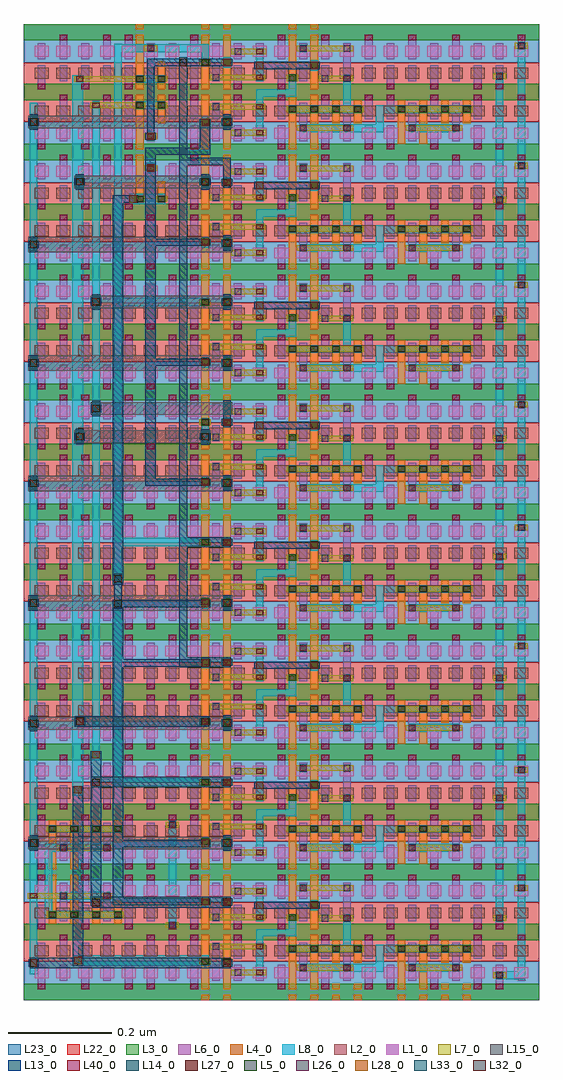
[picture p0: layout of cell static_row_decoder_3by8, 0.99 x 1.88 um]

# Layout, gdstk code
from math import pi, radians
import gdstk
lib = gdstk.Library(unit=1e-6, precision=2.5e-10)
def R(c, l, rs):  # rectangles x0, y0, x1, y1
    for r in rs: c.add(gdstk.rectangle(r[:2], r[2:], *l))
def A(c, l, x, y, w, h, nx, ny, dx, dy):  # array of equal rectangles
    R(c, l, [(x+i*dx, y+j*dy, x+i*dx+w, y+j*dy+h) for i in range(nx) for j in range(ny)])
def P(c, l, *ps):  # polygons
    for p in ps: c.add(gdstk.Polygon(p, *l))
L1_0 = (1, 0)
L2_0 = (2, 0)
L3_0 = (3, 0)
L4_0 = (4, 0)
L5_0 = (5, 0)
L6_0 = (6, 0)
L7_0 = (7, 0)
L8_0 = (8, 0)
L13_0 = (13, 0)
L14_0 = (14, 0)
L15_0 = (15, 0)
L22_0 = (22, 0)
L23_0 = (23, 0)
L26_0 = (26, 0)
L27_0 = (27, 0)
L28_0 = (28, 0)
L32_0 = (32, 0)
L33_0 = (33, 0)
L40_0 = (40, 0)

nor = lib.new_cell('nor')
A(nor, L1_0, 0.178, 0.0425, 0.027, 0.021, 4, 1, 0.042, 0)
A(nor, L2_0, 0.178, 0.085, 0.027, 0.021, 4, 1, 0.042, 0)
R(nor, L3_0, [(0.157,0.0005,0.352,0.032), (0.157,0.116,0.352,0.1475)])
R(nor, L4_0, [(0.205,0.0005,0.22,0.011), (0.247,0.0005,0.262,0.011), (0.205,0.0215,0.22,0.1265), (0.247,0.0215,0.262,0.1265), (0.205,0.137,0.22,0.1475), (0.247,0.137,0.262,0.1475)])
R(nor, L5_0, [(0.247,0.073,0.262,0.086), (0.205,0.0975,0.22,0.1105)])
R(nor, L6_0, [(0.184,0.0215,0.199,0.0685), (0.268,0.0215,0.283,0.0685), (0.226,0.0375,0.241,0.0685), (0.31,0.0375,0.325,0.111), (0.184,0.08,0.199,0.1265), (0.226,0.08,0.241,0.111), (0.268,0.08,0.283,0.111)])
R(nor, L7_0, [(0.221,0.042,0.33,0.053), (0.2435,0.074,0.2655,0.085), (0.2015,0.0985,0.2235,0.1105), (0.263,0.1,0.33,0.111)])
R(nor, L8_0, [(0.2265,0.04,0.2405,0.055), (0.2475,0.072,0.2615,0.087), (0.2055,0.098,0.2195,0.113)])
R(nor, L22_0, [(0.157,0.075,0.352,0.1325)])
R(nor, L23_0, [(0.157,0.0005,0.352,0.075)])
R(nor, L26_0, [(0.227,0.041,0.24,0.054), (0.311,0.041,0.324,0.054), (0.269,0.099,0.282,0.112), (0.311,0.099,0.324,0.112)])
R(nor, L27_0, [(0.2265,0.0425,0.2405,0.0525), (0.2475,0.0745,0.2615,0.0845), (0.2055,0.1005,0.2195,0.1105)])
R(nor, L40_0, [(0.184,0.0215,0.199,0.032), (0.268,0.0215,0.283,0.032), (0.184,0.116,0.199,0.1265)])

nand = lib.new_cell('nand')
A(nand, L1_0, 0.1255, 0.099, 0.027, 0.021, 4, 1, 0.042, 0)
A(nand, L2_0, 0.1255, 0.1415, 0.027, 0.021, 4, 1, 0.042, 0)
R(nand, L3_0, [(0.1045,0.057,0.2995,0.0885), (0.1045,0.1725,0.2995,0.204)])
R(nand, L4_0, [(0.1525,0.057,0.1675,0.0675), (0.1945,0.057,0.2095,0.0675), (0.1525,0.078,0.1675,0.183), (0.1945,0.078,0.2095,0.183), (0.1525,0.1935,0.1675,0.204), (0.1945,0.1935,0.2095,0.204)])
R(nand, L5_0, [(0.1525,0.1245,0.1675,0.1375), (0.1945,0.1245,0.2095,0.1375)])
A(nand, L6_0, 0.1735, 0.094, 0.015, 0.031, 3, 1, 0.042, 0)
R(nand, L6_0, [(0.1315,0.078,0.1465,0.125), (0.1315,0.1365,0.1465,0.183), (0.1735,0.1365,0.1885,0.1675), (0.2155,0.1365,0.2305,0.183), (0.2575,0.1365,0.2725,0.1675)])
R(nand, L7_0, [(0.2105,0.1045,0.2775,0.1155), (0.149,0.1255,0.171,0.1365), (0.191,0.1255,0.213,0.1365), (0.1685,0.1545,0.276,0.1655)])
R(nand, L8_0, [(0.258,0.1025,0.272,0.1675), (0.153,0.1235,0.167,0.1385), (0.195,0.1235,0.209,0.1385)])
R(nand, L22_0, [(0.1045,0.1315,0.2995,0.204)])
R(nand, L23_0, [(0.1045,0.057,0.2995,0.1315)])
R(nand, L26_0, [(0.2165,0.1035,0.2295,0.1165), (0.1745,0.1535,0.1875,0.1665)])
R(nand, L27_0, [(0.258,0.105,0.272,0.115), (0.153,0.126,0.167,0.136), (0.195,0.126,0.209,0.136), (0.258,0.155,0.272,0.165)])
R(nand, L40_0, [(0.1315,0.078,0.1465,0.0885), (0.1315,0.1725,0.1465,0.183), (0.2155,0.1725,0.2305,0.183)])

inv = lib.new_cell('inv')
A(inv, L1_0, 0.021, 0.042, 0.027, 0.021, 3, 1, 0.042, 0)
A(inv, L2_0, 0.021, 0.0845, 0.027, 0.021, 3, 1, 0.042, 0)
R(inv, L3_0, [(0,0,0.153,0.0315), (0,0.1155,0.153,0.147)])
R(inv, L4_0, [(0.048,0,0.063,0.0105), (0.048,0.021,0.063,0.1155), (0.09,0.0715,0.105,0.1155)])
R(inv, L5_0, [(0.048,0.0995,0.063,0.1125), (0.09,0.0995,0.105,0.1125)])
R(inv, L6_0, [(0.027,0.021,0.042,0.068), (0.069,0.037,0.084,0.1105), (0.111,0.037,0.126,0.068), (0.027,0.0795,0.042,0.126), (0.111,0.0795,0.126,0.126)])
R(inv, L7_0, [(0.064,0.041,0.089,0.052), (0.0445,0.1005,0.0665,0.1115), (0.0865,0.1005,0.1085,0.1115)])
R(inv, L8_0, [(0.0695,0.039,0.0835,0.054), (0.0485,0.0985,0.1045,0.1135)])
R(inv, L22_0, [(0,0.0745,0.153,0.147)])
R(inv, L23_0, [(0,0,0.153,0.0745)])
R(inv, L26_0, [(0.07,0.04,0.083,0.053)])
R(inv, L27_0, [(0.0695,0.0415,0.0835,0.0515), (0.0485,0.101,0.0625,0.111), (0.0905,0.101,0.1045,0.111)])
R(inv, L40_0, [(0.027,0.021,0.042,0.0315), (0.027,0.1155,0.042,0.126), (0.111,0.1155,0.126,0.126)])

sram_filler = lib.new_cell('sram_filler')
R(sram_filler, L1_0, [(0.022,0.042,0.049,0.063), (0.064,0.042,0.091,0.063)])
R(sram_filler, L2_0, [(0.022,0.0845,0.049,0.1055), (0.064,0.0845,0.091,0.1055)])
R(sram_filler, L3_0, [(0.001,0,0.112,0.0315), (0.001,0.1155,0.112,0.147)])
R(sram_filler, L6_0, [(0.028,0.021,0.043,0.068), (0.07,0.037,0.085,0.068), (0.028,0.0795,0.043,0.1105), (0.07,0.0795,0.085,0.126)])
R(sram_filler, L22_0, [(0.001,0.0745,0.112,0.147)])
R(sram_filler, L23_0, [(0.001,0,0.112,0.0745)])
R(sram_filler, L40_0, [(0.028,0.021,0.043,0.0315), (0.07,0.1155,0.085,0.126)])

invx4 = lib.new_cell('invx4')
A(invx4, L1_0, 0.027, 0.042, 0.027, 0.021, 5, 1, 0.042, 0)
A(invx4, L2_0, 0.027, 0.0845, 0.027, 0.021, 5, 1, 0.042, 0)
R(invx4, L3_0, [(0.006,0,0.243,0.0315), (0.006,0.1155,0.243,0.147)])
R(invx4, L4_0, [(0.054,0.0315,0.069,0.1155), (0.096,0.0315,0.111,0.1155), (0.138,0.0715,0.153,0.1155), (0.18,0.0715,0.195,0.1155)])
A(invx4, L5_0, 0.054, 0.092, 0.015, 0.013, 4, 1, 0.042, 0)
A(invx4, L6_0, 0.033, 0.021, 0.015, 0.047, 3, 1, 0.084, 0)
A(invx4, L6_0, 0.033, 0.0795, 0.015, 0.0465, 3, 1, 0.084, 0)
R(invx4, L6_0, [(0.075,0.037,0.09,0.1105), (0.159,0.037,0.174,0.1105)])
R(invx4, L7_0, [(0.07,0.0565,0.179,0.0675), (0.0505,0.093,0.1985,0.104)])
R(invx4, L8_0, [(0.0755,0.0545,0.1735,0.0695), (0.0545,0.091,0.1945,0.106)])
R(invx4, L22_0, [(0.006,0.0745,0.243,0.147)])
R(invx4, L23_0, [(0.006,0,0.243,0.0745)])
R(invx4, L26_0, [(0.076,0.0555,0.089,0.0685), (0.16,0.0555,0.173,0.0685)])
A(invx4, L27_0, 0.0545, 0.0935, 0.014, 0.01, 4, 1, 0.042, 0)
R(invx4, L27_0, [(0.0755,0.057,0.0895,0.067), (0.1595,0.057,0.1735,0.067)])
A(invx4, L40_0, 0.033, 0.021, 0.015, 0.0105, 3, 2, 0.084, 0.0945)

buffer_highdrive = lib.new_cell('buffer_highdrive')
R(buffer_highdrive, L3_0, [(0.2825,0.012,0.293,0.018), (0.159,0.138,0.1675,0.143)])
R(buffer_highdrive, L4_0, [(0.0485,-0.0005,0.0635,0.01), (0.0905,-0.0005,0.1055,0.01), (0.0485,0.0205,0.0635,0.031), (0.0905,0.0205,0.1055,0.031), (0.0485,0.115,0.0635,0.1255), (0.0905,0.115,0.1055,0.1255), (0.0485,0.136,0.0635,0.1465), (0.0905,0.136,0.1055,0.1465)])
R(buffer_highdrive, L8_0, [(0.3675,0.0575,0.3745,0.064), (0.2835,0.096,0.29,0.101)])
P(buffer_highdrive, L8_0, [(0.259,0.1055),(0.259,0.0905),(0.2315,0.0905),(0.2315,0.054),(0.168,0.054),(0.168,0.069),(0.2165,0.069),(0.2165,0.1055)])
buffer_highdrive.add(gdstk.Reference(invx4, (-0.0055,-0.0005)))
buffer_highdrive.add(gdstk.Reference(invx4, (0.2045,-0.0005)))

static_row_decoder_3by8 = lib.new_cell('static_row_decoder_3by8')
A(static_row_decoder_3by8, L1_0, 0.478, -1.4275, 0.027, 0.021, 3, 2, 0.042, 0.1575)
A(static_row_decoder_3by8, L1_0, 0.646, -1.4275, 0.027, 0.021, 3, 2, 0.042, 0.1575)
A(static_row_decoder_3by8, L1_0, 0.856, -1.4275, 0.027, 0.021, 3, 8, 0.042, 0.231)
A(static_row_decoder_3by8, L1_0, 0.184, -1.27, 0.027, 0.021, 3, 2, 0.042, 0.0735)
A(static_row_decoder_3by8, L1_0, 0.478, -1.1965, 0.027, 0.021, 3, 2, 0.042, 0.1575)
A(static_row_decoder_3by8, L1_0, 0.646, -1.1965, 0.027, 0.021, 3, 2, 0.042, 0.1575)
A(static_row_decoder_3by8, L1_0, 0.478, -0.9655, 0.027, 0.021, 3, 2, 0.042, 0.1575)
A(static_row_decoder_3by8, L1_0, 0.646, -0.9655, 0.027, 0.021, 3, 2, 0.042, 0.1575)
A(static_row_decoder_3by8, L1_0, 0.478, -0.7345, 0.027, 0.021, 3, 2, 0.042, 0.1575)
A(static_row_decoder_3by8, L1_0, 0.646, -0.7345, 0.027, 0.021, 3, 2, 0.042, 0.1575)
A(static_row_decoder_3by8, L1_0, 0.478, -0.5035, 0.027, 0.021, 3, 2, 0.042, 0.1575)
A(static_row_decoder_3by8, L1_0, 0.646, -0.5035, 0.027, 0.021, 3, 2, 0.042, 0.1575)
A(static_row_decoder_3by8, L1_0, 0.478, -0.2725, 0.027, 0.021, 3, 2, 0.042, 0.1575)
A(static_row_decoder_3by8, L1_0, 0.646, -0.2725, 0.027, 0.021, 3, 2, 0.042, 0.1575)
A(static_row_decoder_3by8, L1_0, 0.478, -0.0415, 0.027, 0.021, 3, 2, 0.042, 0.1575)
A(static_row_decoder_3by8, L1_0, 0.646, -0.0415, 0.027, 0.021, 3, 2, 0.042, 0.1575)
A(static_row_decoder_3by8, L1_0, 0.478, 0.1895, 0.027, 0.021, 3, 2, 0.042, 0.1575)
A(static_row_decoder_3by8, L1_0, 0.646, 0.1895, 0.027, 0.021, 3, 2, 0.042, 0.1575)
R(static_row_decoder_3by8, L1_0, [(0.352,0.116,0.379,0.137), (0.394,0.116,0.421,0.137), (0.352,0.1895,0.379,0.2105), (0.394,0.1895,0.421,0.2105), (0.352,0.347,0.379,0.368), (0.394,0.347,0.421,0.368)])
A(static_row_decoder_3by8, L2_0, 0.478, -1.385, 0.027, 0.021, 3, 2, 0.042, 0.0725)
A(static_row_decoder_3by8, L2_0, 0.646, -1.385, 0.027, 0.021, 10, 8, 0.042, 0.231)
A(static_row_decoder_3by8, L2_0, 0.184, -1.3125, 0.027, 0.021, 5, 2, 0.042, 0.1585)
A(static_row_decoder_3by8, L2_0, 0.646, -1.3125, 0.027, 0.021, 3, 8, 0.042, 0.231)
A(static_row_decoder_3by8, L2_0, 0.478, -1.154, 0.027, 0.021, 3, 2, 0.042, 0.0725)
A(static_row_decoder_3by8, L2_0, 0.478, -0.923, 0.027, 0.021, 3, 2, 0.042, 0.0725)
A(static_row_decoder_3by8, L2_0, 0.478, -0.692, 0.027, 0.021, 3, 2, 0.042, 0.0725)
A(static_row_decoder_3by8, L2_0, 0.478, -0.461, 0.027, 0.021, 3, 2, 0.042, 0.0725)
A(static_row_decoder_3by8, L2_0, 0.478, -0.23, 0.027, 0.021, 3, 2, 0.042, 0.0725)
A(static_row_decoder_3by8, L2_0, 0.478, 0.001, 0.027, 0.021, 3, 1, 0.042, 0)
A(static_row_decoder_3by8, L2_0, 0.352, 0.0735, 0.027, 0.021, 6, 2, 0.042, 0.1585)
A(static_row_decoder_3by8, L2_0, 0.352, 0.3045, 0.027, 0.021, 6, 1, 0.042, 0)
R(static_row_decoder_3by8, L3_0, [(0.2415,-1.226,0.252,-1.22), (0.3215,-1.1,0.33,-1.095)])
A(static_row_decoder_3by8, L4_0, 0.673, -1.4695, 0.015, 0.0105, 4, 1, 0.042, 0)
A(static_row_decoder_3by8, L4_0, 0.883, -1.4695, 0.015, 0.0105, 4, 1, 0.042, 0)
A(static_row_decoder_3by8, L4_0, 0.505, -1.4485, 0.015, 0.105, 1, 16, 0, 0.1155)
A(static_row_decoder_3by8, L4_0, 0.547, -1.4485, 0.015, 0.105, 1, 16, 0, 0.1155)
A(static_row_decoder_3by8, L4_0, 0.673, -1.4485, 0.015, 0.105, 1, 16, 0, 0.1155)
A(static_row_decoder_3by8, L4_0, 0.715, -1.4485, 0.015, 0.105, 1, 16, 0, 0.1155)
A(static_row_decoder_3by8, L4_0, 0.757, -1.398, 0.015, 0.044, 1, 8, 0, 0.231)
A(static_row_decoder_3by8, L4_0, 0.799, -1.398, 0.015, 0.044, 1, 8, 0, 0.231)
A(static_row_decoder_3by8, L4_0, 0.967, -1.398, 0.015, 0.044, 1, 8, 0, 0.231)
A(static_row_decoder_3by8, L4_0, 1.009, -1.398, 0.015, 0.044, 1, 8, 0, 0.231)
A(static_row_decoder_3by8, L4_0, 0.883, -1.207, 0.015, 0.084, 1, 7, 0, 0.231)
A(static_row_decoder_3by8, L4_0, 0.925, -1.207, 0.015, 0.084, 1, 7, 0, 0.231)
R(static_row_decoder_3by8, L4_0, [(0.505,-1.4695,0.52,-1.459), (0.547,-1.4695,0.562,-1.459), (0.757,-1.4485,0.772,-1.438), (0.799,-1.4485,0.814,-1.438), (0.883,-1.4485,0.898,-1.354), (0.925,-1.4485,0.94,-1.354), (0.967,-1.4485,0.982,-1.438), (1.009,-1.4485,1.024,-1.438), (0.211,-1.3225,0.226,-1.228), (0.253,-1.3225,0.268,-1.228), (0.295,-1.3225,0.31,-1.2785), (0.337,-1.3225,0.352,-1.2785), (0.211,-1.2175,0.226,-1.123), (0.253,-1.2175,0.268,-1.123), (0.295,-1.167,0.31,-1.123), (0.337,-1.167,0.352,-1.123), (0.379,0.0635,0.394,0.158), (0.421,0.0635,0.436,0.1075), (0.379,0.1685,0.394,0.2735), (0.421,0.219,0.436,0.2735), (0.379,0.284,0.394,0.389), (0.421,0.284,0.436,0.3385), (0.379,0.3995,0.394,0.41), (0.505,0.3995,0.52,0.41), (0.547,0.3995,0.562,0.41), (0.673,0.3995,0.688,0.41), (0.715,0.3995,0.73,0.41)])
A(static_row_decoder_3by8, L6_0, 1.072, -1.317, 0.015, 0.011, 1, 3, 0, 0.231)
R(static_row_decoder_3by8, L6_0, [(1.072,-1.4275,1.087,-1.4165), (0.442,-1.3305,0.457,-1.3195), (1.114,-1.2595,1.129,-1.2485), (0.442,-1.1375,0.457,-1.1265), (1.114,-1.032,1.129,-1.021), (1.114,-0.7935,1.129,-0.7825), (1.072,-0.6215,1.087,-0.6105), (1.114,-0.565,1.129,-0.554), (1.072,-0.3935,1.087,-0.3825), (1.114,-0.3285,1.129,-0.3175), (1.072,-0.1635,1.087,-0.1525), (1.114,-0.098,1.129,-0.087), (1.072,0.066,1.087,0.077), (1.114,0.1315,1.129,0.1425), (1.072,0.304,1.087,0.315), (1.114,0.3625,1.129,0.3735)])
A(static_row_decoder_3by8, L7_0, 0.7745, -1.317, 0.022, 0.01, 1, 8, 0, 0.231)
A(static_row_decoder_3by8, L7_0, 1.067, -1.317, 0.025, 0.011, 1, 3, 0, 0.231)
R(static_row_decoder_3by8, L7_0, [(1.067,-1.4275,1.092,-1.4165), (0.437,-1.3305,0.462,-1.3195), (0.171,-1.2745,0.2315,-1.2635), (1.109,-1.2595,1.134,-1.2485), (0.437,-1.1375,0.462,-1.1265), (1.109,-1.032,1.134,-1.021), (1.109,-0.7935,1.134,-0.7825), (1.067,-0.6215,1.092,-0.6105), (1.109,-0.565,1.134,-0.554), (1.067,-0.3935,1.092,-0.3825), (1.109,-0.3285,1.134,-0.3175), (1.067,-0.1635,1.092,-0.1525), (1.109,-0.098,1.134,-0.087), (1.067,0.066,1.092,0.077), (1.109,0.1315,1.134,0.1425), (0.2915,0.248,0.3975,0.259), (0.26,0.2985,0.3975,0.3095), (1.067,0.304,1.092,0.315), (1.109,0.3625,1.134,0.3735)])
A(static_row_decoder_3by8, L8_0, 0.7785, -1.3785, 0.014, 0.074, 1, 8, 0, 0.231)
A(static_row_decoder_3by8, L8_0, 0.6105, -1.297, 0.014, 0.02, 1, 8, 0, 0.231)
A(static_row_decoder_3by8, L8_0, 0.7155, -1.297, 0.014, 0.02, 1, 8, 0, 0.231)
A(static_row_decoder_3by8, L8_0, 0.5055, -0.4825, 0.014, 0.02, 1, 3, 0, 0.231)
R(static_row_decoder_3by8, L8_0, [(0.5475,-1.408,0.5615,-1.388), (0.26,-1.4035,0.5195,-1.3835), (0.442,-1.3325,0.457,-1.1245), (1.072,-1.319,1.087,0.317), (0.5475,-1.291,0.5615,-1.271), (0.5055,-1.2905,0.5195,-1.2705), (0.2365,-1.2715,0.2435,-1.265), (0.5055,-1.178,0.5195,-1.158), (0.5475,-1.177,0.5615,-1.157), (0.214,-1.1445,0.225,-1.1335), (0.236,-1.142,0.2425,-1.137), (0.257,-1.0765,0.278,0.3115), (0.5475,-1.06,0.5615,-1.04), (0.2955,-1.0075,0.3095,0.261), (0.5475,-0.946,0.5615,-0.926), (0.5055,-0.9435,0.5195,-0.9235), (0.5055,-0.8305,0.5195,-0.8105), (0.5475,-0.829,0.5615,-0.809), (0.5055,-0.716,0.5195,-0.696), (0.5475,-0.715,0.5615,-0.695), (0.5475,-0.598,0.5615,-0.578), (0.5475,-0.484,0.5615,-0.464), (0.5055,-0.395,0.5195,-0.349), (0.5475,-0.367,0.5615,-0.347), (0.5475,-0.253,0.5615,-0.233), (0.5475,-0.1355,0.5615,-0.1155), (0.5475,-0.022,0.5615,-0.002), (0.366,0.063,0.436,0.083), (0.5475,0.095,0.5615,0.115), (0.5055,0.096,0.5195,0.116), (0.4005,0.1225,0.4145,0.1425), (0.4005,0.184,0.4145,0.204), (0.5055,0.2105,0.5195,0.2305), (0.5475,0.2115,0.5615,0.2315), (0.3815,0.248,0.397,0.259), (0.5475,0.326,0.5615,0.346)])
P(static_row_decoder_3by8, L8_0, [(0.688,0.3125),(0.688,0.27),(0.6245,0.27),(0.6245,0.237),(0.6105,0.237),(0.6105,0.284),(0.6735,0.284),(0.6735,0.3125)],
  [(0.688,0.0815),(0.688,0.039),(0.6245,0.039),(0.6245,0.006),(0.6105,0.006),(0.6105,0.053),(0.6735,0.053),(0.6735,0.0815)],
  [(0.688,-0.1495),(0.688,-0.192),(0.6245,-0.192),(0.6245,-0.225),(0.6105,-0.225),(0.6105,-0.178),(0.6735,-0.178),(0.6735,-0.1495)],
  [(0.688,-0.3805),(0.688,-0.423),(0.6245,-0.423),(0.6245,-0.456),(0.6105,-0.456),(0.6105,-0.409),(0.6735,-0.409),(0.6735,-0.3805)],
  [(0.688,-0.6115),(0.688,-0.654),(0.6245,-0.654),(0.6245,-0.687),(0.6105,-0.687),(0.6105,-0.64),(0.6735,-0.64),(0.6735,-0.6115)],
  [(0.688,-0.8425),(0.688,-0.885),(0.6245,-0.885),(0.6245,-0.918),(0.6105,-0.918),(0.6105,-0.871),(0.6735,-0.871),(0.6735,-0.8425)],
  [(0.688,-1.0735),(0.688,-1.116),(0.6245,-1.116),(0.6245,-1.149),(0.6105,-1.149),(0.6105,-1.102),(0.6735,-1.102),(0.6735,-1.0735)],
  [(0.688,-1.3045),(0.688,-1.347),(0.6245,-1.347),(0.6245,-1.38),(0.6105,-1.38),(0.6105,-1.333),(0.6735,-1.333),(0.6735,-1.3045)],
  [(0.247,-1.169),(0.247,-1.184),(0.2185,-1.184),(0.2185,-1.298),(0.2255,-1.298),(0.2255,-1.313),(0.2035,-1.313),(0.2035,-1.169)],
  [(1.129,0.3755),(1.129,-1.4295),(1.0725,-1.4295),(1.0725,-1.4145),(1.1145,-1.4145),(1.1145,0.3755)],
  [(0.352,0.3715),(0.352,0.371),(0.5195,0.371),(0.5195,0.3295),(0.5055,0.3295),(0.5055,0.356),(0.352,0.356),(0.352,-0.1175),(0.52,-0.1175),(0.52,-0.1335),(0.352,-0.1335),(0.352,-0.5795),(0.52,-0.5795),(0.52,-0.5955),(0.352,-0.5955),(0.352,-1.0415),(0.52,-1.0415),(0.52,-1.0575),(0.337,-1.0575),(0.337,0.3715)],
  [(0.189,0.258),(0.189,0.2315),(0.1895,0.2315),(0.1895,0.2115),(0.189,0.2115),(0.189,-1.157),(0.1895,-1.157),(0.1895,-1.177),(0.189,-1.177),(0.189,-1.388),(0.1895,-1.388),(0.1895,-1.408),(0.189,-1.408),(0.189,-1.4195),(0.175,-1.4195),(0.175,0.258)])
A(static_row_decoder_3by8, L13_0, 0.6075, -1.294, 0.126, 0.014, 1, 8, 0, 0.231)
R(static_row_decoder_3by8, L13_0, [(0.1725,-1.405,0.1925,-1.391), (0.5445,-1.405,0.5645,-1.391), (0.2575,-1.404,0.2775,-1.0575), (0.2925,-1.2885,0.3125,-0.99), (0.5445,-1.288,0.5645,-1.274), (0.1725,-1.174,0.1925,-1.16), (0.5445,-1.174,0.5645,-1.16), (0.5445,-1.057,0.5645,-1.043), (0.172,-0.944,0.192,-0.93), (0.5445,-0.943,0.5645,-0.929), (0.5025,-0.9405,0.5225,-0.9265), (0.5445,-0.826,0.5645,-0.812), (0.172,-0.712,0.192,-0.698), (0.5445,-0.712,0.5645,-0.698), (0.5445,-0.595,0.5645,-0.581), (0.172,-0.4815,0.192,-0.4675), (0.5445,-0.481,0.5645,-0.467), (0.5025,-0.392,0.5225,-0.378), (0.261,-0.3915,0.281,-0.3775), (0.5445,-0.364,0.5645,-0.35), (0.2925,-0.3375,0.3125,-0.3235), (0.172,-0.25,0.192,-0.236), (0.5445,-0.25,0.5645,-0.236), (0.2925,-0.1325,0.3125,-0.1175), (0.5445,-0.1325,0.5645,-0.1185), (0.172,-0.0215,0.192,-0.0075), (0.5445,-0.019,0.5645,-0.005), (0.5445,0.098,0.5645,0.112), (0.261,0.099,0.281,0.113), (0.5025,0.099,0.5225,0.113), (0.1725,0.2145,0.1925,0.2285), (0.5445,0.2145,0.5645,0.2285)])
P(static_row_decoder_3by8, L13_0, [(0.5645,0.343),(0.5645,0.329),(0.4145,0.329),(0.4145,0.201),(0.4175,0.201),(0.4175,0.187),(0.4145,0.187),(0.4145,0.1865),(0.4005,0.1865),(0.4005,0.187),(0.3975,0.187),(0.3975,0.201),(0.4005,0.201),(0.4005,0.343)],
  [(0.5225,0.2275),(0.5225,0.158),(0.4175,0.158),(0.4175,-0.0035),(0.5225,-0.0035),(0.5225,-0.0175),(0.4175,-0.0175),(0.4175,-0.2345),(0.5225,-0.2345),(0.5225,-0.2485),(0.4175,-0.2485),(0.4175,-0.4655),(0.5225,-0.4655),(0.5225,-0.4795),(0.3975,-0.4795),(0.3975,0.172),(0.5025,0.172),(0.5025,0.2275)],
  [(0.3835,0.08),(0.3835,0.066),(0.3545,0.066),(0.3545,-0.67),(0.3345,-0.67),(0.3345,0.08)],
  [(0.5225,-0.699),(0.5225,-0.7135),(0.3545,-0.7135),(0.3545,-0.8135),(0.5225,-0.8135),(0.5225,-0.8275),(0.3545,-0.8275),(0.3545,-1.161),(0.5225,-1.161),(0.5225,-1.175),(0.3545,-1.175),(0.3545,-1.2735),(0.5225,-1.2735),(0.5225,-1.2875),(0.3345,-1.2875),(0.3345,-0.699)],
  [(0.2815,-0.926),(0.2815,-0.94),(0.281,-0.94),(0.281,-0.9405),(0.261,-0.9405),(0.261,-0.9265),(0.2615,-0.9265),(0.2615,-0.926)])
A(static_row_decoder_3by8, L14_0, 0.547, -1.182, 0.015, 0.03, 1, 5, 0, 0.231)
R(static_row_decoder_3by8, L14_0, [(0.175,-1.408,0.562,-1.388), (0.295,-1.2915,0.562,-1.271), (0.175,-1.182,0.19,-1.152), (0.2925,-1.06,0.562,-1.04), (0.1745,-0.952,0.1895,-0.922), (0.1745,-0.72,0.1895,-0.69), (0.337,-0.716,0.352,-0.6485), (0.1745,-0.4895,0.1895,-0.4595), (0.505,-0.4,0.52,-0.37), (0.2635,-0.3995,0.2785,-0.3695), (0.547,-0.367,0.562,-0.315), (0.295,-0.3455,0.31,-0.3155), (0.1745,-0.258,0.1895,-0.228), (0.295,-0.1405,0.31,-0.1105), (0.547,-0.1405,0.562,-0.1105), (0.1745,-0.0295,0.1895,0.0005), (0.547,-0.027,0.562,0.003), (0.2635,0.091,0.2785,0.121), (0.505,0.091,0.52,0.121), (0.175,0.2065,0.19,0.2365), (0.547,0.2065,0.562,0.2365)])
P(static_row_decoder_3by8, L14_0, [(0.478,0.346),(0.478,0.152),(0.562,0.152),(0.562,0.095),(0.547,0.095),(0.547,0.138),(0.478,0.138),(0.478,-0.578),(0.562,-0.578),(0.562,-0.598),(0.478,-0.598),(0.478,-0.809),(0.562,-0.809),(0.562,-0.829),(0.463,-0.829),(0.463,0.346)],
  [(0.279,-0.923),(0.279,-0.9235),(0.52,-0.9235),(0.52,-0.9435),(0.261,-0.9435),(0.261,-0.9235),(0.264,-0.9235),(0.264,-0.923)])
R(static_row_decoder_3by8, L15_0, [(0.172,-1.179,0.565,-1.155), (0.1715,-0.949,0.565,-0.924), (0.1715,-0.72,0.565,-0.69), (0.1715,-0.4895,0.565,-0.4595), (0.2605,-0.397,0.523,-0.3725), (0.292,-0.3425,0.565,-0.318), (0.1715,-0.258,0.565,-0.228), (0.292,-0.1375,0.565,-0.1135), (0.1715,-0.0295,0.565,0.0005), (0.2605,0.094,0.523,0.118), (0.172,0.2095,0.565,0.2335)])
A(static_row_decoder_3by8, L23_0, 0.163, -1.0505, 0.294, 0.1175, 1, 5, 0, 0.231)
R(static_row_decoder_3by8, L23_0, [(0.163,-1.4695,0.457,-1.395), (1.072,-1.4695,1.156,-1.395), (0.4,-1.2815,0.457,-1.164), (0.163,0.1045,0.331,0.222), (0.163,0.3355,0.331,0.41), (0.82,0.3355,1.156,0.41)])
P(static_row_decoder_3by8, L23_0, [(1.156,0.222),(1.156,0.1045),(0.82,0.1045),(0.82,0.1475),(1.072,0.1475),(1.072,0.222)],
  [(1.156,-0.009),(1.156,-0.1265),(0.82,-0.1265),(0.82,-0.0835),(1.072,-0.0835),(1.072,-0.009)],
  [(1.156,-0.24),(1.156,-0.3575),(0.82,-0.3575),(0.82,-0.3145),(1.072,-0.3145),(1.072,-0.24)],
  [(1.156,-0.471),(1.156,-0.5885),(0.82,-0.5885),(0.82,-0.5455),(1.072,-0.5455),(1.072,-0.471)],
  [(1.156,-0.702),(1.156,-0.8195),(0.82,-0.8195),(0.82,-0.7765),(1.072,-0.7765),(1.072,-0.702)],
  [(1.156,-0.933),(1.156,-1.0505),(0.82,-1.0505),(0.82,-1.0075),(1.072,-1.0075),(1.072,-0.933)],
  [(1.156,-1.164),(1.156,-1.2815),(0.82,-1.2815),(0.82,-1.2385),(1.072,-1.2385),(1.072,-1.164)])
A(static_row_decoder_3by8, L26_0, 1.073, -1.318, 0.013, 0.013, 1, 3, 0, 0.231)
R(static_row_decoder_3by8, L26_0, [(1.073,-1.4285,1.086,-1.4155), (0.443,-1.3315,0.456,-1.3185), (1.115,-1.2605,1.128,-1.2475), (0.443,-1.1385,0.456,-1.1255), (1.115,-1.033,1.128,-1.02), (1.115,-0.7945,1.128,-0.7815), (1.073,-0.6225,1.086,-0.6095), (1.115,-0.566,1.128,-0.553), (1.073,-0.3945,1.086,-0.3815), (1.115,-0.3295,1.128,-0.3165), (1.073,-0.1645,1.086,-0.1515), (1.115,-0.099,1.128,-0.086), (1.073,0.065,1.086,0.078), (1.115,0.1305,1.128,0.1435), (1.073,0.303,1.086,0.316), (1.115,0.3615,1.128,0.3745)])
A(static_row_decoder_3by8, L27_0, 0.7785, -1.317, 0.014, 0.01, 1, 8, 0, 0.231)
A(static_row_decoder_3by8, L27_0, 1.0725, -1.3165, 0.014, 0.01, 1, 3, 0, 0.231)
R(static_row_decoder_3by8, L27_0, [(1.0725,-1.427,1.0865,-1.417), (0.4425,-1.33,0.4565,-1.32), (0.175,-1.274,0.189,-1.264), (1.1145,-1.259,1.1285,-1.249), (0.4425,-1.137,0.4565,-1.127), (1.1145,-1.0315,1.1285,-1.0215), (1.1145,-0.793,1.1285,-0.783), (1.0725,-0.621,1.0865,-0.611), (1.1145,-0.5645,1.1285,-0.5545), (1.0725,-0.393,1.0865,-0.383), (1.1145,-0.328,1.1285,-0.318), (1.0725,-0.163,1.0865,-0.153), (1.1145,-0.0975,1.1285,-0.0875), (1.0725,0.0665,1.0865,0.0765), (1.1145,0.132,1.1285,0.142), (0.2955,0.2485,0.3095,0.2585), (0.264,0.299,0.278,0.309), (1.073,0.3045,1.087,0.3145), (1.1145,0.363,1.1285,0.373)])
A(static_row_decoder_3by8, L28_0, 0.6105, -1.294, 0.014, 0.014, 1, 8, 0, 0.231)
A(static_row_decoder_3by8, L28_0, 0.7155, -1.294, 0.014, 0.014, 1, 8, 0, 0.231)
R(static_row_decoder_3by8, L28_0, [(0.1755,-1.405,0.1895,-1.391), (0.5475,-1.405,0.5615,-1.391), (0.2605,-1.4005,0.2745,-1.3865), (0.5475,-1.288,0.5615,-1.274), (0.5055,-1.2875,0.5195,-1.2735), (0.5055,-1.175,0.5195,-1.161), (0.1755,-1.174,0.1895,-1.16), (0.5475,-1.174,0.5615,-1.16), (0.2605,-1.0715,0.2745,-1.0575), (0.5475,-1.057,0.5615,-1.043), (0.2955,-1.004,0.3095,-0.99), (0.175,-0.944,0.189,-0.93), (0.5475,-0.943,0.5615,-0.929), (0.264,-0.9405,0.278,-0.9265), (0.5055,-0.9405,0.5195,-0.9265), (0.5055,-0.8275,0.5195,-0.8135), (0.5475,-0.826,0.5615,-0.812), (0.5055,-0.713,0.5195,-0.699), (0.175,-0.712,0.189,-0.698), (0.5475,-0.712,0.5615,-0.698), (0.5475,-0.595,0.5615,-0.581), (0.175,-0.4815,0.189,-0.4675), (0.5475,-0.481,0.5615,-0.467), (0.5055,-0.4795,0.5195,-0.4655), (0.5055,-0.392,0.5195,-0.378), (0.264,-0.3915,0.278,-0.3775), (0.5475,-0.364,0.5615,-0.35), (0.2955,-0.3375,0.3095,-0.3235), (0.175,-0.25,0.189,-0.236), (0.5475,-0.25,0.5615,-0.236), (0.5055,-0.2485,0.5195,-0.2345), (0.2955,-0.1325,0.3095,-0.1185), (0.5475,-0.1325,0.5615,-0.1185), (0.175,-0.0215,0.189,-0.0075), (0.5475,-0.019,0.5615,-0.005), (0.5055,-0.0175,0.5195,-0.0035), (0.3665,0.066,0.3805,0.08), (0.5475,0.098,0.5615,0.112), (0.264,0.099,0.278,0.113), (0.5055,0.099,0.5195,0.113), (0.4005,0.1255,0.4145,0.1395), (0.4005,0.187,0.4145,0.201), (0.5055,0.2135,0.5195,0.2275), (0.1755,0.2145,0.1895,0.2285), (0.5475,0.2145,0.5615,0.2285), (0.5475,0.329,0.5615,0.343)])
R(static_row_decoder_3by8, L32_0, [(0.1755,-1.405,0.1895,-1.391), (0.5475,-1.405,0.5615,-1.391), (0.2955,-1.2885,0.3095,-1.2745), (0.5475,-1.288,0.5615,-1.274), (0.1755,-1.174,0.1895,-1.16), (0.5475,-1.174,0.5615,-1.16), (0.2955,-1.057,0.3095,-1.043), (0.5475,-1.057,0.5615,-1.043), (0.175,-0.944,0.189,-0.93), (0.5475,-0.943,0.5615,-0.929), (0.5055,-0.9405,0.5195,-0.9265), (0.2645,-0.94,0.2785,-0.926), (0.5475,-0.826,0.5615,-0.812), (0.3375,-0.713,0.3515,-0.699), (0.175,-0.712,0.189,-0.698), (0.5475,-0.712,0.5615,-0.698), (0.3375,-0.6655,0.3515,-0.6515), (0.5475,-0.595,0.5615,-0.581), (0.175,-0.4815,0.189,-0.4675), (0.5475,-0.481,0.5615,-0.467), (0.5055,-0.392,0.5195,-0.378), (0.264,-0.3915,0.278,-0.3775), (0.5475,-0.364,0.5615,-0.35), (0.2955,-0.3375,0.3095,-0.3235), (0.175,-0.25,0.189,-0.236), (0.5475,-0.25,0.5615,-0.236), (0.5475,-0.1325,0.5615,-0.1185), (0.2955,-0.1315,0.3095,-0.1175), (0.175,-0.0215,0.189,-0.0075), (0.5475,-0.019,0.5615,-0.005), (0.5475,0.098,0.5615,0.112), (0.264,0.099,0.278,0.113), (0.5055,0.099,0.5195,0.113), (0.1755,0.2145,0.1895,0.2285), (0.5475,0.2145,0.5615,0.2285), (0.4635,0.329,0.4775,0.343)])
A(static_row_decoder_3by8, L33_0, 0.547, -1.179, 0.015, 0.024, 1, 4, 0, 0.231)
R(static_row_decoder_3by8, L33_0, [(0.175,-1.179,0.19,-1.155), (0.1745,-0.949,0.1895,-0.925), (0.1745,-0.717,0.1895,-0.693), (0.1745,-0.4865,0.1895,-0.4625), (0.505,-0.397,0.52,-0.373), (0.2635,-0.3965,0.2785,-0.3725), (0.295,-0.3425,0.31,-0.3185), (0.547,-0.342,0.562,-0.318), (0.1745,-0.255,0.1895,-0.231), (0.547,-0.255,0.562,-0.231), (0.295,-0.1375,0.31,-0.1135), (0.547,-0.1375,0.562,-0.1135), (0.1745,-0.0265,0.1895,-0.0025), (0.547,-0.024,0.562,0), (0.2635,0.094,0.2785,0.118), (0.505,0.094,0.52,0.118), (0.175,0.2095,0.19,0.2335), (0.547,0.2095,0.562,0.2335)])
static_row_decoder_3by8.add(gdstk.Reference(nor, (0.468,-0.9755), x_reflection=True))
static_row_decoder_3by8.add(gdstk.Reference(nor, (0.468,-0.5135), x_reflection=True))
static_row_decoder_3by8.add(gdstk.Reference(nor, (0.468,-0.7445), x_reflection=True))
static_row_decoder_3by8.add(gdstk.Reference(nor, (0.468,-1.2065), x_reflection=True))
static_row_decoder_3by8.add(gdstk.Reference(nor, (0.468,-0.2825), x_reflection=True))
static_row_decoder_3by8.add(gdstk.Reference(nor, (0.468,-0.0515), x_reflection=True))
static_row_decoder_3by8.add(gdstk.Reference(nor, (0.468,0.4105), x_reflection=True))
static_row_decoder_3by8.add(gdstk.Reference(nor, (0.468,0.1795), x_reflection=True))
static_row_decoder_3by8.add(gdstk.Reference(nand, (0.3525,-0.8335)))
static_row_decoder_3by8.add(gdstk.Reference(nand, (0.3525,-0.457), x_reflection=True))
static_row_decoder_3by8.add(gdstk.Reference(nand, (0.3525,-0.688), x_reflection=True))
static_row_decoder_3by8.add(gdstk.Reference(nand, (0.3525,-1.0645)))
static_row_decoder_3by8.add(gdstk.Reference(nand, (0.3525,-1.5265)))
static_row_decoder_3by8.add(gdstk.Reference(nand, (0.3525,-1.2955)))
static_row_decoder_3by8.add(gdstk.Reference(nand, (0.3525,-0.919), x_reflection=True))
static_row_decoder_3by8.add(gdstk.Reference(nand, (0.3525,-1.15), x_reflection=True))
static_row_decoder_3by8.add(gdstk.Reference(nand, (0.3525,-0.1405)))
static_row_decoder_3by8.add(gdstk.Reference(nand, (0.3525,-0.6025)))
static_row_decoder_3by8.add(gdstk.Reference(nand, (0.3525,-0.226), x_reflection=True))
static_row_decoder_3by8.add(gdstk.Reference(nand, (0.3525,0.005), x_reflection=True))
static_row_decoder_3by8.add(gdstk.Reference(nand, (0.3525,-0.3715)))
static_row_decoder_3by8.add(gdstk.Reference(nand, (0.3525,0.236), x_reflection=True))
static_row_decoder_3by8.add(gdstk.Reference(nand, (0.3525,0.467), x_reflection=True))
static_row_decoder_3by8.add(gdstk.Reference(nand, (0.3525,0.0905)))
static_row_decoder_3by8.add(gdstk.Reference(inv, (0.331,0.179), x_reflection=True))
static_row_decoder_3by8.add(gdstk.Reference(inv, (0.331,0.41), x_reflection=True))
static_row_decoder_3by8.add(gdstk.Reference(inv, (0.331,0.1475)))
static_row_decoder_3by8.add(gdstk.Reference(sram_filler, (0.401,-0.976), rotation=pi))
static_row_decoder_3by8.add(gdstk.Reference(sram_filler, (0.485,-0.976), rotation=pi))
static_row_decoder_3by8.add(gdstk.Reference(sram_filler, (0.792,-0.514), x_reflection=True))
static_row_decoder_3by8.add(gdstk.Reference(sram_filler, (0.96,-0.514), x_reflection=True))
static_row_decoder_3by8.add(gdstk.Reference(sram_filler, (0.876,-0.514), x_reflection=True))
static_row_decoder_3by8.add(gdstk.Reference(sram_filler, (0.96,-0.745), x_reflection=True))
static_row_decoder_3by8.add(gdstk.Reference(sram_filler, (0.792,-0.745), x_reflection=True))
static_row_decoder_3by8.add(gdstk.Reference(sram_filler, (0.876,-0.745), x_reflection=True))
static_row_decoder_3by8.add(gdstk.Reference(sram_filler, (0.792,-0.976), x_reflection=True))
static_row_decoder_3by8.add(gdstk.Reference(sram_filler, (0.96,-0.976), x_reflection=True))
static_row_decoder_3by8.add(gdstk.Reference(sram_filler, (0.876,-0.976), x_reflection=True))
static_row_decoder_3by8.add(gdstk.Reference(sram_filler, (0.96,-1.207), x_reflection=True))
static_row_decoder_3by8.add(gdstk.Reference(sram_filler, (0.792,-1.207), x_reflection=True))
static_row_decoder_3by8.add(gdstk.Reference(sram_filler, (0.876,-1.207), x_reflection=True))
static_row_decoder_3by8.add(gdstk.Reference(sram_filler, (0.876,-0.283), x_reflection=True))
static_row_decoder_3by8.add(gdstk.Reference(sram_filler, (0.792,-0.283), x_reflection=True))
static_row_decoder_3by8.add(gdstk.Reference(sram_filler, (0.96,-0.283), x_reflection=True))
static_row_decoder_3by8.add(gdstk.Reference(sram_filler, (0.876,-0.052), x_reflection=True))
static_row_decoder_3by8.add(gdstk.Reference(sram_filler, (0.96,-0.052), x_reflection=True))
static_row_decoder_3by8.add(gdstk.Reference(sram_filler, (0.792,-0.052), x_reflection=True))
static_row_decoder_3by8.add(gdstk.Reference(sram_filler, (0.792,0.179), x_reflection=True))
static_row_decoder_3by8.add(gdstk.Reference(sram_filler, (0.96,0.179), x_reflection=True))
static_row_decoder_3by8.add(gdstk.Reference(sram_filler, (0.96,0.41), x_reflection=True))
static_row_decoder_3by8.add(gdstk.Reference(sram_filler, (0.792,0.41), x_reflection=True))
static_row_decoder_3by8.add(gdstk.Reference(sram_filler, (0.876,0.41), x_reflection=True))
static_row_decoder_3by8.add(gdstk.Reference(sram_filler, (0.876,0.179), x_reflection=True))
static_row_decoder_3by8.add(gdstk.Reference(sram_filler, (0.372,-1.207), x_reflection=True))
static_row_decoder_3by8.add(gdstk.Reference(sram_filler, (0.372,-1.2385)))
static_row_decoder_3by8.add(gdstk.Reference(sram_filler, (0.288,-0.3145)))
static_row_decoder_3by8.add(gdstk.Reference(sram_filler, (0.372,-0.3145)))
static_row_decoder_3by8.add(gdstk.Reference(sram_filler, (0.275,-0.052), rotation=pi))
static_row_decoder_3by8.add(gdstk.Reference(sram_filler, (0.317,-0.052), rotation=pi))
static_row_decoder_3by8.add(gdstk.Reference(sram_filler, (0.401,-0.052), rotation=pi))
static_row_decoder_3by8.add(gdstk.Reference(sram_filler, (0.485,-0.052), rotation=pi))
static_row_decoder_3by8.add(gdstk.Reference(sram_filler, (0.485,-0.283), rotation=pi))
static_row_decoder_3by8.add(gdstk.Reference(sram_filler, (0.401,-0.283), rotation=pi))
static_row_decoder_3by8.add(gdstk.Reference(sram_filler, (0.317,-0.283), rotation=pi))
static_row_decoder_3by8.add(gdstk.Reference(sram_filler, (0.275,-0.283), rotation=pi))
static_row_decoder_3by8.add(gdstk.Reference(sram_filler, (0.372,-0.5455)))
static_row_decoder_3by8.add(gdstk.Reference(sram_filler, (0.288,-0.5455)))
static_row_decoder_3by8.add(gdstk.Reference(sram_filler, (0.204,-0.5455)))
static_row_decoder_3by8.add(gdstk.Reference(sram_filler, (0.162,-0.5455)))
static_row_decoder_3by8.add(gdstk.Reference(sram_filler, (0.275,-0.514), rotation=pi))
static_row_decoder_3by8.add(gdstk.Reference(sram_filler, (0.317,-0.514), rotation=pi))
static_row_decoder_3by8.add(gdstk.Reference(sram_filler, (0.401,-0.514), rotation=pi))
static_row_decoder_3by8.add(gdstk.Reference(sram_filler, (0.485,-0.514), rotation=pi))
static_row_decoder_3by8.add(gdstk.Reference(sram_filler, (0.162,-0.7765)))
static_row_decoder_3by8.add(gdstk.Reference(sram_filler, (0.246,-0.7765)))
static_row_decoder_3by8.add(gdstk.Reference(sram_filler, (0.33,-0.7765)))
static_row_decoder_3by8.add(gdstk.Reference(sram_filler, (0.372,-0.7765)))
static_row_decoder_3by8.add(gdstk.Reference(sram_filler, (0.485,-0.745), rotation=pi))
static_row_decoder_3by8.add(gdstk.Reference(sram_filler, (0.401,-0.745), rotation=pi))
static_row_decoder_3by8.add(gdstk.Reference(sram_filler, (0.317,-0.745), rotation=pi))
static_row_decoder_3by8.add(gdstk.Reference(sram_filler, (0.275,-0.745), rotation=pi))
static_row_decoder_3by8.add(gdstk.Reference(sram_filler, (0.372,-1.0075)))
static_row_decoder_3by8.add(gdstk.Reference(sram_filler, (0.33,-1.0075)))
static_row_decoder_3by8.add(gdstk.Reference(sram_filler, (0.246,-1.0075)))
static_row_decoder_3by8.add(gdstk.Reference(sram_filler, (0.162,-1.0075)))
static_row_decoder_3by8.add(gdstk.Reference(sram_filler, (0.275,-0.976), rotation=pi))
static_row_decoder_3by8.add(gdstk.Reference(sram_filler, (0.317,-0.976), rotation=pi))
static_row_decoder_3by8.add(gdstk.Reference(sram_filler, (1.044,-0.3145)))
static_row_decoder_3by8.add(gdstk.Reference(sram_filler, (1.157,-0.745), rotation=pi))
static_row_decoder_3by8.add(gdstk.Reference(sram_filler, (1.044,-0.7765)))
static_row_decoder_3by8.add(gdstk.Reference(sram_filler, (1.157,-0.514), rotation=pi))
static_row_decoder_3by8.add(gdstk.Reference(sram_filler, (1.044,-0.5455)))
static_row_decoder_3by8.add(gdstk.Reference(sram_filler, (1.157,-0.283), rotation=pi))
static_row_decoder_3by8.add(gdstk.Reference(sram_filler, (1.044,-1.0075)))
static_row_decoder_3by8.add(gdstk.Reference(sram_filler, (1.157,-0.976), rotation=pi))
static_row_decoder_3by8.add(gdstk.Reference(sram_filler, (1.044,-1.2385)))
static_row_decoder_3by8.add(gdstk.Reference(sram_filler, (1.157,-1.207), rotation=pi))
static_row_decoder_3by8.add(gdstk.Reference(sram_filler, (1.044,-1.4695)))
static_row_decoder_3by8.add(gdstk.Reference(sram_filler, (1.157,-0.052), rotation=pi))
static_row_decoder_3by8.add(gdstk.Reference(sram_filler, (1.044,-0.0835)))
static_row_decoder_3by8.add(gdstk.Reference(sram_filler, (1.157,0.179), rotation=pi))
static_row_decoder_3by8.add(gdstk.Reference(sram_filler, (1.044,0.1475)))
static_row_decoder_3by8.add(gdstk.Reference(sram_filler, (1.157,0.41), rotation=pi))
static_row_decoder_3by8.add(gdstk.Reference(sram_filler, (0.275,0.41), rotation=pi))
static_row_decoder_3by8.add(gdstk.Reference(sram_filler, (0.162,0.1475)))
static_row_decoder_3by8.add(gdstk.Reference(sram_filler, (0.275,0.179), rotation=pi))
static_row_decoder_3by8.add(gdstk.Reference(sram_filler, (0.359,0.179), rotation=pi))
static_row_decoder_3by8.add(gdstk.Reference(sram_filler, (0.246,0.1475)))
static_row_decoder_3by8.add(gdstk.Reference(sram_filler, (0.359,0.41), rotation=pi))
static_row_decoder_3by8.add(gdstk.Reference(sram_filler, (0.162,-1.4695)))
static_row_decoder_3by8.add(gdstk.Reference(sram_filler, (0.246,-1.4695)))
static_row_decoder_3by8.add(gdstk.Reference(sram_filler, (0.33,-1.4695)))
static_row_decoder_3by8.add(gdstk.Reference(sram_filler, (0.372,-1.4695)))
static_row_decoder_3by8.add(gdstk.Reference(sram_filler, (0.162,-0.0835)))
static_row_decoder_3by8.add(gdstk.Reference(sram_filler, (0.246,-0.0835)))
static_row_decoder_3by8.add(gdstk.Reference(sram_filler, (0.33,-0.0835)))
static_row_decoder_3by8.add(gdstk.Reference(sram_filler, (0.372,-0.0835)))
static_row_decoder_3by8.add(gdstk.Reference(sram_filler, (0.162,-0.3145)))
static_row_decoder_3by8.add(gdstk.Reference(sram_filler, (0.204,-0.3145)))
static_row_decoder_3by8.add(gdstk.Reference(invx4, (0.157,-1.207), x_reflection=True))
static_row_decoder_3by8.add(gdstk.Reference(invx4, (0.157,-1.2385)))
static_row_decoder_3by8.add(gdstk.Reference(buffer_highdrive, (0.6245,-0.776)))
static_row_decoder_3by8.add(gdstk.Reference(buffer_highdrive, (0.6245,-1.238)))
static_row_decoder_3by8.add(gdstk.Reference(buffer_highdrive, (0.6245,-0.545)))
static_row_decoder_3by8.add(gdstk.Reference(buffer_highdrive, (0.6245,-0.314)))
static_row_decoder_3by8.add(gdstk.Reference(buffer_highdrive, (0.6245,-1.469)))
static_row_decoder_3by8.add(gdstk.Reference(buffer_highdrive, (0.6245,-1.007)))
static_row_decoder_3by8.add(gdstk.Reference(buffer_highdrive, (0.6245,0.148)))
static_row_decoder_3by8.add(gdstk.Reference(buffer_highdrive, (0.6245,-0.083)))

lib.write_gds('static_row_decoder_3by8.gds')
